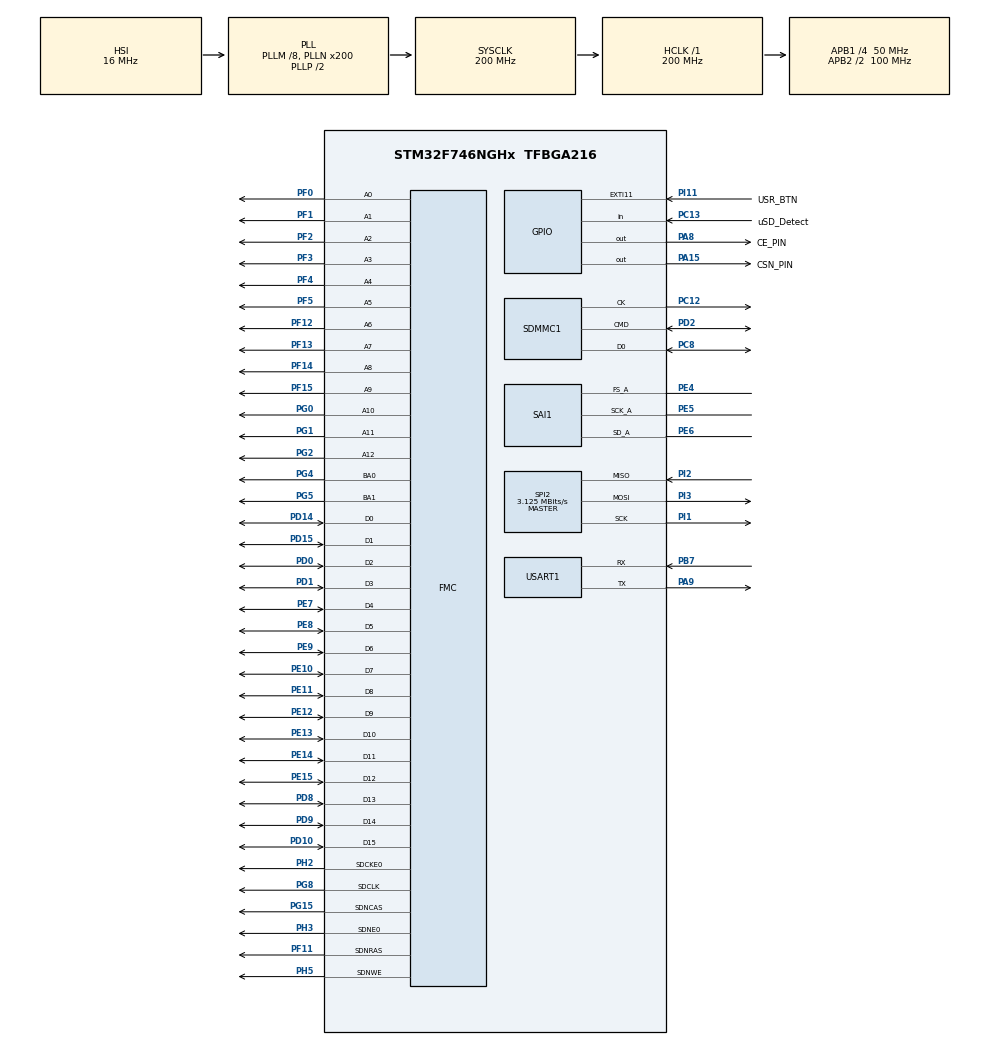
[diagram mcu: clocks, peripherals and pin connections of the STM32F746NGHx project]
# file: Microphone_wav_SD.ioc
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ARM.CMSIS.5.9.0.CMSISJjCORE=true
ARM.CMSIS.5.9.0.CMSISJjDSP=Source
CORTEX_M7.CPU_DCache=Enabled
CORTEX_M7.CPU_ICache=Enabled
Dma.Request0=SAI1_A
Dma.Request1=SDMMC1_RX
Dma.Request2=SDMMC1_TX
Dma.SAI1_A.0.Direction=DMA_PERIPH_TO_MEMORY
Dma.SAI1_A.0.FIFOMode=DMA_FIFOMODE_DISABLE
Dma.SAI1_A.0.Instance=DMA2_Stream1
Dma.SAI1_A.0.MemDataAlignment=DMA_MDATAALIGN_HALFWORD
Dma.SAI1_A.0.MemInc=DMA_MINC_ENABLE
Dma.SAI1_A.0.Mode=DMA_CIRCULAR
Dma.SAI1_A.0.PeriphDataAlignment=DMA_PDATAALIGN_HALFWORD
Dma.SAI1_A.0.PeriphInc=DMA_PINC_DISABLE
Dma.SAI1_A.0.Priority=DMA_PRIORITY_HIGH
Dma.SDMMC1_RX.1.Direction=DMA_PERIPH_TO_MEMORY
Dma.SDMMC1_RX.1.FIFOMode=DMA_FIFOMODE_ENABLE
Dma.SDMMC1_RX.1.FIFOThreshold=DMA_FIFO_THRESHOLD_FULL
Dma.SDMMC1_RX.1.Instance=DMA2_Stream3
Dma.SDMMC1_RX.1.MemBurst=DMA_MBURST_INC4
Dma.SDMMC1_RX.1.MemDataAlignment=DMA_MDATAALIGN_WORD
Dma.SDMMC1_RX.1.MemInc=DMA_MINC_ENABLE
Dma.SDMMC1_RX.1.Mode=DMA_PFCTRL
Dma.SDMMC1_RX.1.PeriphBurst=DMA_PBURST_INC4
Dma.SDMMC1_RX.1.PeriphDataAlignment=DMA_PDATAALIGN_WORD
Dma.SDMMC1_RX.1.PeriphInc=DMA_PINC_DISABLE
Dma.SDMMC1_RX.1.Priority=DMA_PRIORITY_LOW
Dma.SDMMC1_TX.2.Direction=DMA_MEMORY_TO_PERIPH
Dma.SDMMC1_TX.2.FIFOMode=DMA_FIFOMODE_ENABLE
Dma.SDMMC1_TX.2.FIFOThreshold=DMA_FIFO_THRESHOLD_FULL
Dma.SDMMC1_TX.2.Instance=DMA2_Stream6
Dma.SDMMC1_TX.2.MemBurst=DMA_MBURST_INC4
Dma.SDMMC1_TX.2.MemDataAlignment=DMA_MDATAALIGN_WORD
Dma.SDMMC1_TX.2.MemInc=DMA_MINC_ENABLE
Dma.SDMMC1_TX.2.Mode=DMA_PFCTRL
Dma.SDMMC1_TX.2.PeriphBurst=DMA_PBURST_INC4
Dma.SDMMC1_TX.2.PeriphDataAlignment=DMA_PDATAALIGN_WORD
Dma.SDMMC1_TX.2.PeriphInc=DMA_PINC_DISABLE
Dma.SDMMC1_TX.2.Priority=DMA_PRIORITY_LOW
FATFS.BSP.number=1
FATFS.USE_DMA_CODE_SD=1
FATFS0.BSP.STBoard=false
FATFS0.BSP.api=Unknown
FATFS0.BSP.instance=PC13
FATFS0.BSP.ip=GPIO
FATFS0.BSP.mode=Input
FATFS0.BSP.name=Detect_SDIO
FATFS0.BSP.solution=PC13
FMC.CASLatency1=FMC_SDRAM_CAS_LATENCY_3
FMC.ColumnBitsNumber1=FMC_SDRAM_COLUMN_BITS_NUM_9
FMC.ExitSelfRefreshDelay1=6
FMC.LoadToActiveDelay1=2
FMC.RCDDelay1=2
FMC.RPDelay1=2
FMC.RPDelay2=2
FMC.ReadPipeDelay1=FMC_SDRAM_RPIPE_DELAY_1
FMC.ReadPipeDelay2=FMC_SDRAM_RPIPE_DELAY_1
FMC.RowCycleDelay1=6
FMC.RowCycleDelay2=6
FMC.SDClockPeriod1=FMC_SDRAM_CLOCK_PERIOD_2
FMC.SDClockPeriod2=FMC_SDRAM_CLOCK_PERIOD_2
FMC.SelfRefreshTime1=4
FMC.WriteRecoveryTime1=2
Mcu.Family=STM32F7
Mcu.Name=STM32F746NGHx
Mcu.Package=TFBGA216
NVIC.DMA2_Stream1_IRQn=true\:0\:0\:true\:false\:true\:false\:true\:true
NVIC.DMA2_Stream3_IRQn=true\:2\:0\:true\:false\:true\:false\:true\:true
NVIC.DMA2_Stream6_IRQn=true\:2\:0\:true\:false\:true\:false\:true\:true
NVIC.EXTI15_10_IRQn=true\:0\:0\:false\:false\:true\:true\:true\:true
NVIC.PriorityGroup=NVIC_PRIORITYGROUP_4
NVIC.SDMMC1_IRQn=true\:1\:0\:true\:false\:true\:true\:true\:true
PA13.Mode=Serial_Wire
PA13.Signal=SYS_JTMS-SWDIO
PA14.Mode=Serial_Wire
PA14.Signal=SYS_JTCK-SWCLK
PA15.GPIO_Label=CSN_PIN
PA15.Signal=GPIO_Output
PA8.GPIO_Label=CE_PIN
PA8.Signal=GPIO_Output
PA9.Mode=Asynchronous
PA9.Signal=USART1_TX
PB7.Mode=Asynchronous
PB7.Signal=USART1_RX
PC12.Mode=SD_1_bit
PC12.Signal=SDMMC1_CK
PC13.GPIO_Label=uSD_Detect
PC13.Signal=GPIO_Input
PC8.Mode=SD_1_bit
PC8.Signal=SDMMC1_D0
PD0.Signal=FMC_D2_DA2
PD1.Signal=FMC_D3_DA3
PD10.Signal=FMC_D15_DA15
PD14.Signal=FMC_D0_DA0
PD15.Signal=FMC_D1_DA1
PD2.Mode=SD_1_bit
PD2.Signal=SDMMC1_CMD
PD8.Signal=FMC_D13_DA13
PD9.Signal=FMC_D14_DA14
PE10.Signal=FMC_D7_DA7
PE11.Signal=FMC_D8_DA8
PE12.Signal=FMC_D9_DA9
PE13.Signal=FMC_D10_DA10
PE14.Signal=FMC_D11_DA11
PE15.Signal=FMC_D12_DA12
PE4.Mode=SAI_A_Master
PE4.Signal=SAI1_FS_A
PE5.Mode=SAI_A_Master
PE5.Signal=SAI1_SCK_A
PE6.Mode=SAI_A_Master
PE6.Signal=SAI1_SD_A
PE7.Signal=FMC_D4_DA4
PE8.Signal=FMC_D5_DA5
PE9.Signal=FMC_D6_DA6
PF0.Signal=FMC_A0
PF1.Signal=FMC_A1
PF11.Signal=FMC_SDNRAS
PF12.Signal=FMC_A6
PF13.Signal=FMC_A7
PF14.Signal=FMC_A8
PF15.Signal=FMC_A9
PF2.Signal=FMC_A2
PF3.Signal=FMC_A3
PF4.Signal=FMC_A4
PF5.Signal=FMC_A5
PG0.Signal=FMC_A10
PG1.Signal=FMC_A11
PG15.Signal=FMC_SDNCAS
PG2.Signal=FMC_A12
PG4.Signal=FMC_A14_BA0
PG5.Signal=FMC_A15_BA1
PG8.Signal=FMC_SDCLK
PH0/OSC_IN.Mode=HSE-External-Oscillator
PH0/OSC_IN.Signal=RCC_OSC_IN
PH1/OSC_OUT.Mode=HSE-External-Oscillator
PH1/OSC_OUT.Signal=RCC_OSC_OUT
PH2.Mode=SdramChipSelect1_1
PH2.Signal=FMC_SDCKE0
PH3.Mode=SdramChipSelect1_1
PH3.Signal=FMC_SDNE0
PH5.Signal=FMC_SDNWE
PI1.Mode=Full_Duplex_Master
PI1.Signal=SPI2_SCK
PI11.GPIO_Label=USR_BTN
PI11.Signal=GPXTI11
PI2.Mode=Full_Duplex_Master
PI2.Signal=SPI2_MISO
PI3.Mode=Full_Duplex_Master
PI3.Signal=SPI2_MOSI
ProjectManager.HeapSize=0x2000
ProjectManager.StackSize=0x2000
ProjectManager.TargetToolchain=STM32CubeIDE
RCC.AHBFreq_Value=200000000
RCC.APB1CLKDivider=RCC_HCLK_DIV4
RCC.APB1Freq_Value=50000000
RCC.APB1TimFreq_Value=100000000
RCC.APB2CLKDivider=RCC_HCLK_DIV2
RCC.APB2Freq_Value=100000000
RCC.APB2TimFreq_Value=200000000
RCC.CortexFreq_Value=200000000
RCC.HCLKFreq_Value=200000000
RCC.HSE_VALUE=25000000
RCC.HSI_VALUE=16000000
RCC.LSE_VALUE=32768
RCC.PLLM=8
RCC.PLLN=200
RCC.PLLQ=8
RCC.PLLSAIN=50
RCC.SDMMCClockSelection=RCC_SDMMC1CLKSOURCE_CLK48
RCC.SYSCLKFreq_VALUE=200000000
RCC.SYSCLKSource=RCC_SYSCLKSOURCE_PLLCLK
RCC.USBFreq_Value=50000000
RCC.VCOOutputFreq_Value=400000000
SAI1.AudioFrequency-SAI_A_Master=SAI_AUDIO_FREQUENCY_16K
SAI1.AudioMode-SAI_A_Master=SAI_MODEMASTER_RX
SAI1.DataSize-SAI_A_Master=SAI_DATASIZE_16
SAI1.ErrorAudioFreq-SAI_A_Master=1.72 %
SAI1.FrameLength-SAI_A_Master=16
SAI1.Instance-SAI_A_Master=SAI$Index_Block_A
SAI1.MClockEnable-SAI_A_Master=SAI_MASTERCLOCK_DISABLE
SAI1.RealAudioFreq-SAI_A_Master=16.276 KHz
SAI1.SlotNumber-SAI_A_Master=1
SAI1.VirtualMode-SAI_A_Master=VM_MASTER
SH.FMC_A0.0=FMC_A0,13b-sda1
SH.FMC_A1.0=FMC_A1,13b-sda1
SH.FMC_A10.0=FMC_A10,13b-sda1
SH.FMC_A11.0=FMC_A11,13b-sda1
SH.FMC_A12.0=FMC_A12,13b-sda1
SH.FMC_A14_BA0.0=FMC_BA0,FourSdramBanks1
SH.FMC_A15_BA1.0=FMC_BA1,FourSdramBanks1
SH.FMC_A2.0=FMC_A2,13b-sda1
SH.FMC_A3.0=FMC_A3,13b-sda1
SH.FMC_A4.0=FMC_A4,13b-sda1
SH.FMC_A5.0=FMC_A5,13b-sda1
SH.FMC_A6.0=FMC_A6,13b-sda1
SH.FMC_A7.0=FMC_A7,13b-sda1
SH.FMC_A8.0=FMC_A8,13b-sda1
SH.FMC_A9.0=FMC_A9,13b-sda1
SH.FMC_D0_DA0.0=FMC_D0,sd-16b-d1
SH.FMC_D10_DA10.0=FMC_D10,sd-16b-d1
SH.FMC_D11_DA11.0=FMC_D11,sd-16b-d1
SH.FMC_D12_DA12.0=FMC_D12,sd-16b-d1
SH.FMC_D13_DA13.0=FMC_D13,sd-16b-d1
SH.FMC_D14_DA14.0=FMC_D14,sd-16b-d1
SH.FMC_D15_DA15.0=FMC_D15,sd-16b-d1
SH.FMC_D1_DA1.0=FMC_D1,sd-16b-d1
SH.FMC_D2_DA2.0=FMC_D2,sd-16b-d1
SH.FMC_D3_DA3.0=FMC_D3,sd-16b-d1
SH.FMC_D4_DA4.0=FMC_D4,sd-16b-d1
SH.FMC_D5_DA5.0=FMC_D5,sd-16b-d1
SH.FMC_D6_DA6.0=FMC_D6,sd-16b-d1
SH.FMC_D7_DA7.0=FMC_D7,sd-16b-d1
SH.FMC_D8_DA8.0=FMC_D8,sd-16b-d1
SH.FMC_D9_DA9.0=FMC_D9,sd-16b-d1
SH.FMC_SDCLK.0=FMC_SDCLK,13b-sda1
SH.FMC_SDNCAS.0=FMC_SDNCAS,13b-sda1
SH.FMC_SDNRAS.0=FMC_SDNRAS,13b-sda1
SH.FMC_SDNWE.0=FMC_SDNWE,13b-sda1
SPI2.BaudRatePrescaler=SPI_BAUDRATEPRESCALER_16
SPI2.CalculateBaudRate=3.125 MBits/s
SPI2.DataSize=SPI_DATASIZE_8BIT
SPI2.Direction=SPI_DIRECTION_2LINES
SPI2.Mode=SPI_MODE_MASTER
SPI2.VirtualType=VM_MASTER
STMicroelectronics.X-CUBE-AI.10.0.0.ActivationBufferSizeList=67120
STMicroelectronics.X-CUBE-AI.10.0.0.ActivationBuffers=pool0
STMicroelectronics.X-CUBE-AI.10.0.0.ActivationNames=pool0
STMicroelectronics.X-CUBE-AI.10.0.0.ActivationSizes=AI_NETWORK_DATA_ACTIVATION_1_SIZE
STMicroelectronics.X-CUBE-AI.10.0.0.HeapSize=0x2000
STMicroelectronics.X-CUBE-AI.10.0.0.InternalRamActivationBufferMaxSize=AI_NETWORK_DATA_ACTIVATIONS_SIZE
STMicroelectronics.X-CUBE-AI.10.0.0.LatestDirectoryUsed-2c76707cbc1bfe0859cdd8517a0014c0d641bb633ffe14323fff284030c50ca9=C\:\\Users\\fabi_\\OneDrive\\Documentos\\2_M2_oca\\Projet
STMicroelectronics.X-CUBE-AI.10.0.0.MaximumNumberOfInputLayer=1
STMicroelectronics.X-CUBE-AI.10.0.0.MaximumNumberOfOutputLayer=1
STMicroelectronics.X-CUBE-AI.10.0.0.MaximumSizeOfInputLayer=1
STMicroelectronics.X-CUBE-AI.10.0.0.MaximumSizeOfOutputLayer=1
STMicroelectronics.X-CUBE-AI.10.0.0.ModelActualCompression-2c76707cbc1bfe0859cdd8517a0014c0d641bb633ffe14323fff284030c50ca9=0.0
STMicroelectronics.X-CUBE-AI.10.0.0.ModelCompression-2c76707cbc1bfe0859cdd8517a0014c0d641bb633ffe14323fff284030c50ca9=None
STMicroelectronics.X-CUBE-AI.10.0.0.ModelFlashOccupation-2c76707cbc1bfe0859cdd8517a0014c0d641bb633ffe14323fff284030c50ca9=711574
STMicroelectronics.X-CUBE-AI.10.0.0.ModelHashList=2c76707cbc1bfe0859cdd8517a0014c0d641bb633ffe14323fff284030c50ca9
STMicroelectronics.X-CUBE-AI.10.0.0.ModelKind-2c76707cbc1bfe0859cdd8517a0014c0d641bb633ffe14323fff284030c50ca9=TFLITE
STMicroelectronics.X-CUBE-AI.10.0.0.ModelMacc-2c76707cbc1bfe0859cdd8517a0014c0d641bb633ffe14323fff284030c50ca9=295702
STMicroelectronics.X-CUBE-AI.10.0.0.ModelName-2c76707cbc1bfe0859cdd8517a0014c0d641bb633ffe14323fff284030c50ca9=network
STMicroelectronics.X-CUBE-AI.10.0.0.ModelNameList=network
STMicroelectronics.X-CUBE-AI.10.0.0.ModelRamOccupation-2c76707cbc1bfe0859cdd8517a0014c0d641bb633ffe14323fff284030c50ca9=69260
STMicroelectronics.X-CUBE-AI.10.0.0.ModelStructureFile-2c76707cbc1bfe0859cdd8517a0014c0d641bb633ffe14323fff284030c50ca9=C\:\\Users\\fabi_\\OneDrive\\Documentos\\2_M2_oca\\Projet\\voice_recon_mini_V2.tflite
STMicroelectronics.X-CUBE-AI.10.0.0.ModelType-2c76707cbc1bfe0859cdd8517a0014c0d641bb633ffe14323fff284030c50ca9=STM32Cube.AI MCU runtime
STMicroelectronics.X-CUBE-AI.10.0.0.ReadyForCodeGeneration=true
STMicroelectronics.X-CUBE-AI.10.0.0.StackSize=0x2000
STMicroelectronics.X-CUBE-AI.10.0.0.WorkingBufferStartAddrList=0xFFFFFFFF
STMicroelectronics.X-CUBE-AI.10.0.0.XAaCUBEAaAICcArtificialOoIntelligenceJjCore=true
STMicroelectronics.X-CUBE-AI.10.0.0.copyWeightToRam=false
STMicroelectronics.X-CUBE-AI.10.0.0.copyWeightToRam-2c76707cbc1bfe0859cdd8517a0014c0d641bb633ffe14323fff284030c50ca9=false
STMicroelectronics.X-CUBE-AI.10.0.0.customLayerConfigEnabled=false
STMicroelectronics.X-CUBE-AI.10.0.0.customLayerConfigEnabled-2c76707cbc1bfe0859cdd8517a0014c0d641bb633ffe14323fff284030c50ca9=false
STMicroelectronics.X-CUBE-AI.10.0.0.noOnnxIoTranspose=false
STMicroelectronics.X-CUBE-AI.10.0.0.noOnnxIoTranspose-2c76707cbc1bfe0859cdd8517a0014c0d641bb633ffe14323fff284030c50ca9=false
STMicroelectronics.X-CUBE-AI.10.0.0.useInputAllocation=true
STMicroelectronics.X-CUBE-AI.10.0.0.useInputAllocation-2c76707cbc1bfe0859cdd8517a0014c0d641bb633ffe14323fff284030c50ca9=true
STMicroelectronics.X-CUBE-AI.10.0.0.useOutputAllocation=true
STMicroelectronics.X-CUBE-AI.10.0.0.useOutputAllocation-2c76707cbc1bfe0859cdd8517a0014c0d641bb633ffe14323fff284030c50ca9=true
USART1.VirtualMode-Asynchronous=VM_ASYNC
VP_ARM.CMSIS_VS_CMSISJjCORE_5.6.0_5.9.0.Mode=CMSISJjCORE
VP_ARM.CMSIS_VS_CMSISJjDSP_1.10.0_5.9.0.Mode=CMSISJjDSP
VP_CRC_VS_CRC.Mode=CRC_Activate
VP_FATFS_VS_SDIO.Mode=SDIO
VP_STMicroelectronics.X-CUBE-AI_VS_ArtificialOoIntelligenceJjXAaCUBEAaAI_10.0.0.Mode=ArtificialOoIntelligenceJjXAaCUBEAaAI
board=STM32F746G-DISCO

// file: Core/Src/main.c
/* USER CODE BEGIN Header */
/**
  ******************************************************************************
  * @file           : main.c
  * @brief          : Main program body
  ******************************************************************************
  * @attention
  *
  * Copyright (c) 2025 STMicroelectronics.
  * All rights reserved.
  *
  * This software is licensed under terms that can be found in the LICENSE file
  * in the root directory of this software component.
  * If no LICENSE file comes with this software, it is provided AS-IS.
  *
  ******************************************************************************
  */
/* USER CODE END Header */
#include "main.h"
#include "crc.h"
#include "dma.h"
#include "fatfs.h"
#include "sai.h"
#include "sdmmc.h"
#include "spi.h"
#include "usart.h"
#include "gpio.h"
#include "fmc.h"

/* USER CODE BEGIN Includes */

/* General INCLUDES */
#include <stdio.h>
/* Voice recording INCLUDES */
#include "waverecorder.h"
/* Cube AI INCLUDES */
#include "ai_datatypes_defines.h"
#include "ai_platform.h"
#include "network.h"
#include "network_data.h"
/* Signal processing INCLUDES */
#include "arm_math.h"
#include "dsp/transform_functions.h"
/* Wireless transmission INCLUDES */
#include "MY_NRF24.h"

/* USER CODE END Includes */

/* USER CODE BEGIN PD */

/* Signal processing INCLUDES */
#define BUFFER_SIZE 16000  // Same as sample rate, variables store 16000 values.
#define FFT_SIZE 256

/* USER CODE END PD */

/* USER CODE BEGIN PV */

/* Audio recording VARIABLES */
AUDIO_ApplicationTypeDef appli_state = APPLICATION_IDLE;
AUDIO_PLAYBACK_StateTypeDef AudioState;
AUDIO_ErrorTypeDef  status;

/* SD card VARIABLES */
#define WORK_BUFFER_SIZE 512
BYTE workBuffer_init[WORK_BUFFER_SIZE];
extern FIL WavFile;
FRESULT res;
UINT bytesRead, bw;
FIL file;

/* AI model VARIABLES */
ai_handle network;
float aiInData[AI_NETWORK_IN_1_SIZE];
float aiOutData[AI_NETWORK_OUT_1_SIZE];
ai_u8 activations[AI_NETWORK_DATA_ACTIVATIONS_SIZE];
const char* activities[AI_NETWORK_OUT_1_SIZE] = {
	"down", "go", "left", "right", "stop", "up"
};
ai_buffer * ai_input;
ai_buffer * ai_output;

/* Audio processing VARIABLES */
static int16_t stereo_waveform[BUFFER_SIZE*2];
static int16_t waveform[BUFFER_SIZE] __attribute__((section(".sdram")));
static float float_waveform[BUFFER_SIZE] __attribute__((section(".sdram")));
static float spectrogram[124][129] __attribute__((section(".sdram")));
const static uint32_t frame_step = 128;
arm_rfft_fast_instance_f32 fft;

/* USER CODE END PV */

void SystemClock_Config(void);
/* USER CODE BEGIN PFP */

/* Needed to send messages easier to terminal for debugging */
#ifdef __GNUC__
/* With GCC/RAISONANCE, small printf (option LD Linker-
>Libraries->Small printf
set to 'Yes') calls __io_putchar() */
#define PUTCHAR_PROTOTYPE int __io_putchar(int ch)
#else
#define PUTCHAR_PROTOTYPE int fputc(int ch, FILE *f)
#endif /* __GNUC__ */

/* Needed to initialize the SD Card */
void SDCard_InitAndFormat(void);
int read_wav_file(const char *filename, int16_t *buffer);

/* Audio processing */
void arm_hanning_f32(float32_t * pDst, uint32_t blockSize);

/* AI functions */
static void AI_Init(void);
static void AI_Run(float *pIn, float *pOut);
static uint32_t argmax(const float * values, uint32_t len);
void softmax(float *values, uint32_t len);

/* Wireless transmission */
void HAL_GPIO_send_command(const char* command);

/* USER CODE END PFP */

/* USER CODE BEGIN 0 */
/* Wireless transmission RELATED VARIABLES */
volatile uint8_t button_pressed = 0;

uint64_t TxpipeAddrs = 0x11223344AA;
char myTxData[32] = "Hello world!";
char myRxData[32];

char droite[32] = "right";
char gauche[32] = "left";
char stop[32] = "stop";
char go[32] = "go";
char back[32] = "down";

volatile uint8_t button_pressed_right = 0;
volatile uint8_t button_pressed_left = 0;
volatile uint8_t button_pressed_stop = 0;
volatile uint8_t button_pressed_go = 0;
volatile uint8_t button_pressed_back = 0;
/* USER CODE END 0 */

int main(void)
{

  /* Enable the CPU Cache */

  /* Enable I-Cache---------------------------------------------------------*/
  SCB_EnableICache();

  /* Enable D-Cache---------------------------------------------------------*/
  SCB_EnableDCache();

  /* MCU Configuration--------------------------------------------------------*/

  /* Reset of all peripherals, Initializes the Flash interface and the Systick. */
  HAL_Init();

  /* Configure the system clock */
  SystemClock_Config();

  /* Initialize all configured peripherals */
  MX_GPIO_Init();
  MX_DMA_Init();
  MX_SDMMC1_SD_Init();
  MX_FMC_Init();
  MX_SAI1_Init();
  MX_SPI2_Init();
  MX_USART1_UART_Init();
  MX_CRC_Init();
  MX_FATFS_Init();
  /* USER CODE BEGIN 2 */

  /* Init */
  printf("SD card init...\r\n");
  SDCard_InitAndFormat();
  BSP_SDRAM_Init();
  AI_Init();

  NRF24_begin(GPIOA, CSN_PIN_Pin, CE_PIN_Pin, hspi2);
  nrf24_DebugUART_Init(huart1);

  /* Set values of arrays to 0 for a clean start */
  memset(waveform, 0, sizeof(waveform));
  memset(stereo_waveform, 0, sizeof(stereo_waveform));
  memset(float_waveform, 0, sizeof(float_waveform));
  memset(spectrogram, 0, sizeof(spectrogram));

  /* Wireless module config */

  /* Good practice : in case we were in receive mode just before */
  NRF24_stopListening();
  /* We open the writing pipe (hex address) */
  NRF24_openWritingPipe(TxpipeAddrs);
  /* We turn off ack and select a channel 0 - 127 */
  NRF24_setAutoAck(false);
  NRF24_setChannel(52);
  /* We set a payload size of 32 bytes   (max) */
  NRF24_setPayloadSize(32);

  /* USER CODE END 2 */

  /* Infinite loop */
  /* USER CODE BEGIN WHILE */
    while (1)
    {
    	/* We wait for the user button on the Discovery board to be pressed (BLUE BUTTON) */
        check_button_release();
        printf("Waiting for input to record...\r\n");
        HAL_Delay(1000);

        SCB_DisableDCache();
        SCB_DisableICache();

        /* If the button is pressed, execute main program */
        if (button_pressed == 1)
        {
            /* If the program is not already recording... */
            if (AudioState == AUDIO_STATE_IDLE)
            {
                /* Configure the audio recorder: sampling frequency, bits-depth, number of channels */
                AUDIO_REC_Start();
            }

            /* While recording, we loop the recording process */
            while (AudioState == AUDIO_STATE_RECORD)
            {
                status = AUDIO_REC_Process();
            }

            /* Once we stop recording, we correctly close the .WAV */
            if (AudioState == AUDIO_STATE_STOP)
            {
                status = AUDIO_REC_Process();
                printf("Recording stopped.\r\n");
            }

            /* Audio processing step*/

            	/* We read the .wav file stored in the SD card and assign its content to an array */
				if (read_wav_file("WAVE.WAV", stereo_waveform) != 0) {
					printf("ERROR : cannot read .wav file\r\n");
					return;
				}

				/* Stereo to mono audio transformation */
				for (uint32_t i = 0; i < BUFFER_SIZE; i++) {
					waveform[i] = (stereo_waveform[2 * i] + stereo_waveform[2 * i + 1]) / 2;  // Moyenne des deux canaux
				}

				// -------------------- NORMALIZATION --------------------
				printf("Audio normalization...\r\n");

				/* Find min and max */

				float min_val = 32767.0f;
				float max_val = -32768.0f;

				for (uint32_t i = 0; i < BUFFER_SIZE; i++) {
					if (waveform[i] < min_val) min_val = waveform[i];
					if (waveform[i] > max_val) max_val = waveform[i];
				}

				/* Display the found values */
				printf("Min: %.2f, Max: %.2f\n", min_val, max_val);

				/* Normalization process */
				float range = max_val - min_val;
				if (range == 0) range = 1.0f;  // To not divide by 0

				for (uint32_t i = 0; i < BUFFER_SIZE; i++) {
					float_waveform[i] = 2.0f * (waveform[i] - min_val) / range - 1.0f; // Normalization [-1,1]
				}

				/* Display some values */
				printf("Premières valeurs normalisées : ");
				for (uint32_t i = 0; i < 10; i++) {
					printf("%.6f ", float_waveform[i]);
				}
				printf("\r\n");

				// -------------------- HANNING & FFT --------------------

				/* Hanning window creation */
				static float32_t hanning_window[FFT_SIZE];
				arm_hanning_f32(hanning_window, FFT_SIZE);

				for (uint32_t idx = 0; idx < 124; idx++) {
					float frame[FFT_SIZE];
					float mag[FFT_SIZE / 2 + 1]; // Complex values magnitude
					float sum = 0.0f;

					/* Hanning extraction and application */
					for (uint32_t i = 0; i < FFT_SIZE; i++) {
						frame[i] = float_waveform[idx * frame_step + i] * hanning_window[i];
						sum += frame[i];
					}

					/* Suppression of the DC bias */
					float mean = sum / FFT_SIZE;
					for (uint32_t i = 0; i < FFT_SIZE; i++) {
						frame[i] -= mean;
					}

					/* Declare RFFT */
					if (arm_rfft_fast_init_f32(&fft, FFT_SIZE) != ARM_MATH_SUCCESS) {
						printf("Erreur : Échec de l'initialisation de la FFT !\r\n");
						Error_Handler();
					}

					/* Compute RFFT */
					float dst[FFT_SIZE];
					arm_rfft_fast_f32(&fft, frame, dst, 0);

					/* Processing of the complex values magnitudes */
					arm_cmplx_mag_f32(dst, mag, FFT_SIZE / 2 + 1);

					/* Fill the spectrogram array */
					for (uint32_t i = 0; i < FFT_SIZE / 2 + 1; i++) {
						spectrogram[idx][i] = mag[i];
					}
				}

				// -------------------- SD card save --------------------

//				printf("Saving spectrogram...\r\n");
//
//				res = f_open(&file, "data.txt", FA_WRITE | FA_CREATE_ALWAYS);
//				if (res == FR_OK) {
//				    f_write(&file, "[\n", 2, &bw);
//				    char buffer[32];
//
//				    for (uint32_t i = 0; i < 124; i++) {
//				        f_write(&file, " [", 2, &bw);
//				        for (uint32_t j = 0; j < 129; j++) {
//				            sprintf(buffer, "%.8f", spectrogram[i][j]);
//				            f_write(&file, buffer, strlen(buffer), &bw);
//
//				            if (j < 128) {  // Add space between values but no comma
//				                f_write(&file, " ", 1, &bw);
//				            }
//				        }
//				        f_write(&file, "]", 1, &bw);
//
//				        if (i < 123) { // New line for the next row except the last one
//				            f_write(&file, "\n", 1, &bw);
//				        }
//				    }
//
//				    f_write(&file, "\n]", 2, &bw);
//				    f_close(&file);
//				    printf("Saving success !\r\n");
//				} else {
//				    printf("Saving FAILED !\r\n");
//				}

				// -------------------- AI format preparation --------------------

				/* Fit spectrogram into aiInData */
				for (uint32_t i = 0; i < 124; i++) {
					for (uint32_t j = 0; j < FFT_SIZE / 2 + 1; j++) {
						aiInData[i * (FFT_SIZE / 2 + 1) + j] = spectrogram[i][j];
					}
				}

				/* Vérification avant passage au modèle */
				printf("Premières valeurs envoyées au modèle : ");
				for (uint32_t i = 0; i < 10; i++) {
					printf("%.6f ", aiInData[i]);
				}
				printf("\r\n");

				// -------------------- INFERENCE --------------------
				printf("Inference...\r\n");
				AI_Run(aiInData, aiOutData);

				// -------------------- SOFTMAX AND PREDICTION --------------------
				softmax(aiOutData, AI_NETWORK_OUT_1_SIZE);

				/* Check sum of probabilities */
				float sum_softmax = 0;
				for (uint32_t i = 0; i < AI_NETWORK_OUT_1_SIZE; i++) {
					sum_softmax += aiOutData[i];
				}
				printf("Softmax probability sum : %f\r\n", sum_softmax);

				/* Pick the class with the highest probability */
				uint32_t class_idx = argmax(aiOutData, AI_NETWORK_OUT_1_SIZE);
				printf("Detected command : %s (Confidence : %.2f%%)\r\n", activities[class_idx], aiOutData[class_idx] * 100);

				/* Map the detected word to the correct command */
				const char* command_to_send = NULL;

				if (strcmp(activities[class_idx], "down") == 0) {
				    command_to_send = back;
				    button_pressed_back = 0;
				} else if (strcmp(activities[class_idx], "go") == 0) {
				    command_to_send = go;
				    button_pressed_go = 0;
				} else if (strcmp(activities[class_idx], "left") == 0) {
				    command_to_send = gauche;
				    button_pressed_left = 0;
				} else if (strcmp(activities[class_idx], "right") == 0) {
				    command_to_send = droite;
				    button_pressed_right = 0;
				} else if (strcmp(activities[class_idx], "stop") == 0) {
				    command_to_send = stop;
				    button_pressed_stop = 0;
				} else if (strcmp(activities[class_idx], "up") == 0) {
				    command_to_send = stop;
				    button_pressed_stop = 0;
				}

				/* Send the mapped command */
				if (command_to_send != NULL) {
				    HAL_GPIO_send_command(command_to_send);
				}

				}
        }

        HAL_Delay(100);  // Small delay for stability

    /* USER CODE END WHILE */

}

void SystemClock_Config(void)
{
  RCC_OscInitTypeDef RCC_OscInitStruct = {0};
  RCC_ClkInitTypeDef RCC_ClkInitStruct = {0};

  /** Configure the main internal regulator output voltage
  */
  __HAL_RCC_PWR_CLK_ENABLE();
  __HAL_PWR_VOLTAGESCALING_CONFIG(PWR_REGULATOR_VOLTAGE_SCALE1);

  /** Initializes the RCC Oscillators according to the specified parameters
  * in the RCC_OscInitTypeDef structure.
  */
  RCC_OscInitStruct.OscillatorType = RCC_OSCILLATORTYPE_HSI;
  RCC_OscInitStruct.HSIState = RCC_HSI_ON;
  RCC_OscInitStruct.HSICalibrationValue = RCC_HSICALIBRATION_DEFAULT;
  RCC_OscInitStruct.PLL.PLLState = RCC_PLL_ON;
  RCC_OscInitStruct.PLL.PLLSource = RCC_PLLSOURCE_HSI;
  RCC_OscInitStruct.PLL.PLLM = 8;
  RCC_OscInitStruct.PLL.PLLN = 200;
  RCC_OscInitStruct.PLL.PLLP = RCC_PLLP_DIV2;
  RCC_OscInitStruct.PLL.PLLQ = 8;
  if (HAL_RCC_OscConfig(&RCC_OscInitStruct) != HAL_OK)
  {
    Error_Handler();
  }

  /** Activate the Over-Drive mode
  */
  if (HAL_PWREx_EnableOverDrive() != HAL_OK)
  {
    Error_Handler();
  }

  /** Initializes the CPU, AHB and APB buses clocks
  */
  RCC_ClkInitStruct.ClockType = RCC_CLOCKTYPE_HCLK|RCC_CLOCKTYPE_SYSCLK
                              |RCC_CLOCKTYPE_PCLK1|RCC_CLOCKTYPE_PCLK2;
  RCC_ClkInitStruct.SYSCLKSource = RCC_SYSCLKSOURCE_PLLCLK;
  RCC_ClkInitStruct.AHBCLKDivider = RCC_SYSCLK_DIV1;
  RCC_ClkInitStruct.APB1CLKDivider = RCC_HCLK_DIV4;
  RCC_ClkInitStruct.APB2CLKDivider = RCC_HCLK_DIV2;

  if (HAL_RCC_ClockConfig(&RCC_ClkInitStruct, FLASH_LATENCY_6) != HAL_OK)
  {
    Error_Handler();
  }
}

/* USER CODE BEGIN 4 */

/* Needed to send messages easier to terminal for debugging */
PUTCHAR_PROTOTYPE
{
/* Place your implementation of fputc here */
/* e.g. write a character to the USART2 and Loop until the end
of transmission */
HAL_UART_Transmit(&huart1, (uint8_t *)&ch, 1, 100);
return ch;
}

/* User button interruption and variable change */
void HAL_GPIO_EXTI_Callback(uint16_t GPIO_Pin)
{
  /* Prevent unused argument(s) compilation warning */
  UNUSED(GPIO_Pin);

  if (GPIO_Pin == USR_BTN_Pin && button_pressed == 0)
      {
	  	  button_pressed = 1;
	  	  printf("Button pressed...\r\n");
      }
}

/* Used to verify the state of the button */
void check_button_release()
{
    if (HAL_GPIO_ReadPin(GPIOI, USR_BTN_Pin) == GPIO_PIN_RESET) button_pressed = 0;
}

/* Used to initialize the SD card */
void SDCard_InitAndFormat(void) {
    FRESULT res;

    // Mount the file system
    res = f_mount(&SDFatFS, (TCHAR const *)SDPath, 0);
    if (res != FR_OK) {
        printf("Error: Failed to mount SD card (Code: %d).\r\n", res);
        Error_Handler();
    }

    // Format the SD card
    res = f_mkfs((TCHAR const *)SDPath, FM_ANY, 0, workBuffer_init, sizeof(workBuffer_init));
    if (res != FR_OK) {
        printf("Error: Failed to format SD card (Code: %d).\r\n", res);
        Error_Handler();
    }

    // Unmount the file system to complete formatting
    res = f_mount(NULL, (TCHAR const *)SDPath, 0);
    if (res != FR_OK) {
        printf("Error: Failed to unmount SD card after formatting (Code: %d).\r\n", res);
        Error_Handler();
    }

    printf("SD card initialized and formatted successfully.\r\n");
}

/* Used to read the wav file in the SD card and store its content inside an array */
int read_wav_file(const char *filename, int16_t *buffer) {
    FIL file;
    UINT bytes_read;

    FRESULT result = f_open(&file, filename, FA_READ);

    if (result != FR_OK) {
        return -1;  // File open error
    }

    // Skip WAV header (44 bytes)
    f_lseek(&file, 44);

    // Read audio samples into the buffer
    result = f_read(&file, buffer, (BUFFER_SIZE*2) * sizeof(int16_t), &bytes_read);

    if (result != FR_OK) {
        f_close(&file);
        return -1;  // Read error
    }

    f_close(&file);
    printf("file successfully read! \r\n");
    return 0;  // Success
}

/* Used for signal processing : Hanning window formula */
void arm_hanning_f32(float32_t * pDst, uint32_t blockSize) {
   float32_t k = 2.0f / ((float32_t) blockSize);
   float32_t w;

   for(uint32_t i=0;i<blockSize;i++)
   {
     w = PI * i * k;
     w = 0.5f * (1.0f - cosf (w));
     pDst[i] = w;
   }
}

/* Used for initializing the AI model */
static void AI_Init(void)
{
  ai_error err;

  /* Create a local array with the addresses of the activations buffers */
  const ai_handle act_addr[] = { activations };
  /* Create an instance of the model */
  err = ai_network_create_and_init(&network, act_addr, NULL);
  if (err.type != AI_ERROR_NONE) {
    printf("ai_network_create error - type=%d code=%d\r\n", err.type, err.code);
    Error_Handler();
  }
  ai_input = ai_network_inputs_get(network, NULL);
  ai_output = ai_network_outputs_get(network, NULL);
}

/* Used to send an input to the AI model, and get an answer */
static void AI_Run(float *pIn, float *pOut)
{
  ai_i32 batch;
  ai_error err;

  /* Update IO handlers with the data payload */
  ai_input[0].data = AI_HANDLE_PTR(pIn);
  ai_output[0].data = AI_HANDLE_PTR(pOut);

  batch = ai_network_run(network, ai_input, ai_output);
  if (batch != 1) {
    err = ai_network_get_error(network);
    printf("AI ai_network_run error - type=%d code=%d\r\n", err.type, err.code);
    Error_Handler();
  }
}

/* Used to pick the highest probability result of the AI model */
static uint32_t argmax(const float * values, uint32_t len)
{
  float max_value = values[0];
  uint32_t max_index = 0;
  for (uint32_t i = 1; i < len; i++) {
    if (values[i] > max_value) {
      max_value = values[i];
      max_index = i;
    }
  }
  return max_index;
}

/* Used for probability calculation */
void softmax(float *values, uint32_t len) {
    // Find the maximum value in the logits for numerical stability
    float max_val = values[0];
    for (uint32_t i = 1; i < len; i++) {
        if (values[i] > max_val) {
            max_val = values[i];
        }
    }

    // Subtract the max value from all logits to prevent overflow/underflow
    for (uint32_t i = 0; i < len; i++) {
        values[i] -= max_val;
    }

    // Compute the sum of exponentiated values
    float sum = 0.0f;
    for (uint32_t i = 0; i < len; i++) {
        values[i] = expf(values[i]);  // Exponentiate each value
        sum += values[i];             // Sum the exponentiated values
    }
}

/* Used for message transmission */
void HAL_GPIO_send_command(const char* command) // Fonction de transmission des commandes
{
    if (strcmp(command, droite) == 0 && button_pressed_right == 0) {
        button_pressed_right = 1;

		if (NRF24_write(droite, 32) == 1) {
			printf("Transmission success: command %s\r\n", command);
		} else {
			printf("Transmission failed for command %s\r\n", command);
		}

    } else if (strcmp(command, gauche) == 0 && button_pressed_left == 0) {
        button_pressed_left = 1;

        // Send the command using NRF24
		if (NRF24_write(gauche, 32) == 1) {
			printf("Transmission success: command %s\r\n", command);
		} else {
			printf("Transmission failed for command %s\r\n", command);
		}

    } else if (strcmp(command, stop) == 0 && button_pressed_stop == 0) {
        button_pressed_stop = 1;

		if (NRF24_write(stop, 32) == 1) {
			printf("Transmission success: command %s\r\n", command);
		} else {
			printf("Transmission failed for command %s\r\n", command);
		}

    } else if (strcmp(command, go) == 0 && button_pressed_go == 0) {
        button_pressed_go = 1;

		if (NRF24_write(go, 32) == 1) {
			printf("Transmission success: command %s\r\n", command);
		} else {
			printf("Transmission failed for command %s\r\n", command);
		}
    } else if (strcmp(command, back) == 0 && button_pressed_back == 0) {
        button_pressed_back = 1;
		if (NRF24_write(back, 32) == 1) {
			printf("Transmission success: command %s\r\n", command);
		} else {
			printf("Transmission failed for command %s\r\n", command);
		}
    } else {
        return; // Command not recognized, do nothing
    }

}
/* USER CODE END 4 */

void Error_Handler(void)
{
  __disable_irq();
  while (1)
  {
  }
}
